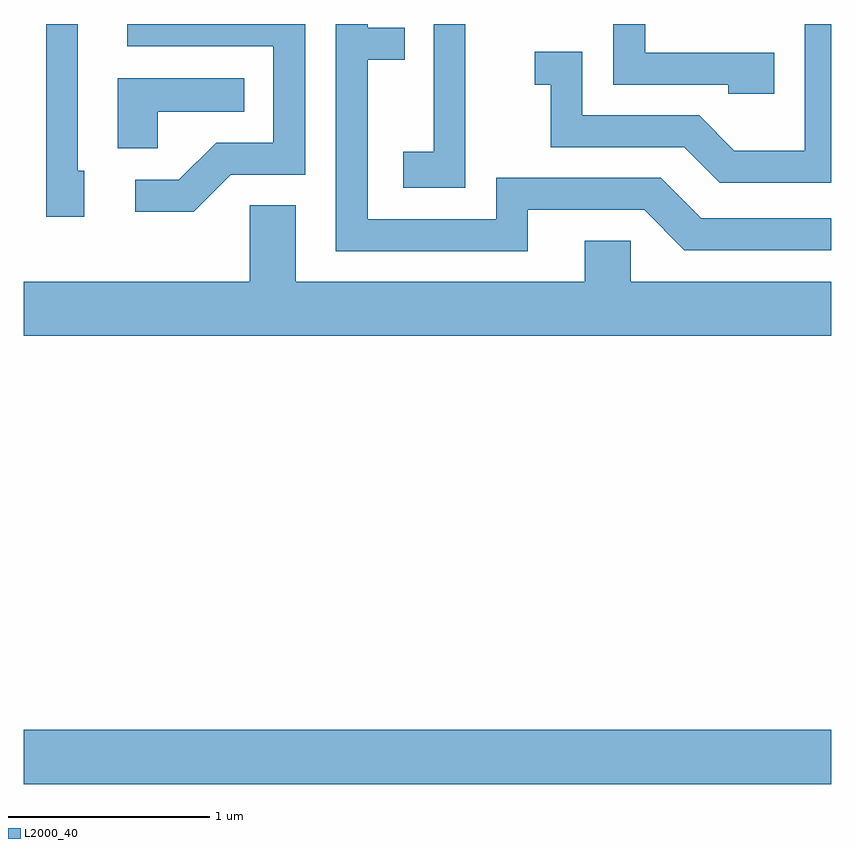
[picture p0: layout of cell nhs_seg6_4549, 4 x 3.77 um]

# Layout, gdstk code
import gdstk
lib = gdstk.Library(unit=1e-6, precision=1e-09)
def R(c, l, rs):  # rectangles x0, y0, x1, y1
    for r in rs: c.add(gdstk.rectangle(r[:2], r[2:], *l))
def P(c, l, *ps):  # polygons
    for p in ps: c.add(gdstk.Polygon(p, *l))
L2000_40 = (2000, 40)

nhs_seg6_4549 = lib.new_cell('nhs_seg6_4549')
R(nhs_seg6_4549, L2000_40, [(323.611,1634.396,327.611,1634.664)])
P(nhs_seg6_4549, L2000_40, [(323.909,1637.434),(323.879,1637.434),(323.879,1638.162),(323.721,1638.162),(323.721,1637.206),(323.909,1637.206)],
  [(326.109,1637.241),(326.684,1637.241),(326.884,1637.041),(327.611,1637.041),(327.611,1637.199),(326.967,1637.199),(326.767,1637.399),(325.951,1637.399),(325.951,1637.194),(325.314,1637.194),(325.314,1637.986),(325.498,1637.986),(325.498,1638.144),(325.314,1638.144),(325.314,1638.162),(325.156,1638.162),(325.156,1637.036),(326.109,1637.036)],
  [(327.611,1638.162),(327.481,1638.162),(327.481,1637.534),(327.132,1637.534),(326.957,1637.709),(326.379,1637.709),(326.379,1638.024),(326.143,1638.024),(326.143,1637.861),(326.221,1637.861),(326.221,1637.551),(326.884,1637.551),(327.059,1637.376),(327.611,1637.376)],
  [(325.799,1638.162),(325.641,1638.162),(325.641,1637.529),(325.491,1637.529),(325.491,1637.351),(325.799,1637.351)],
  [(327.329,1638.019),(326.689,1638.019),(326.689,1638.162),(326.531,1638.162),(326.531,1637.861),(327.101,1637.861),(327.101,1637.816),(327.329,1637.816)],
  [(324.637,1637.416),(325.004,1637.416),(325.004,1638.162),(324.123,1638.162),(324.123,1638.051),(324.846,1638.051),(324.846,1637.574),(324.564,1637.574),(324.379,1637.389),(324.163,1637.389),(324.163,1637.231),(324.452,1637.231)],
  [(324.274,1637.726),(324.703,1637.726),(324.703,1637.894),(324.076,1637.894),(324.076,1637.546),(324.274,1637.546)],
  [(327.611,1636.884),(326.619,1636.884),(326.619,1637.089),(326.391,1637.089),(326.391,1636.884),(324.959,1636.884),(324.959,1637.264),(324.731,1637.264),(324.731,1636.884),(323.611,1636.884),(323.611,1636.616),(327.611,1636.616)])

lib.write_gds('nhs_seg6_4549.gds')
